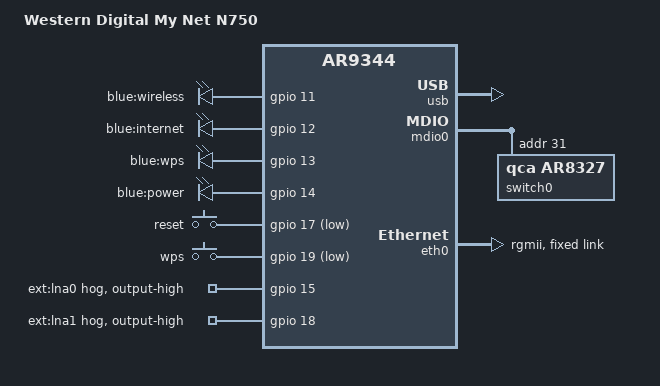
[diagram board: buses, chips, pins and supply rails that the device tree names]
// SPDX-License-Identifier: GPL-2.0-or-later OR MIT

#include "ar9344_wd_mynet-nxxx.dtsi"

/ {
	model = "Western Digital My Net N750";
	compatible = "wd,mynet-n750", "qca,ar9344";

	aliases {
		led-boot = &led_power;
		led-failsafe = &led_power;
		led-running = &led_power;
		led-upgrade = &led_power;
	};

	leds {
		compatible = "gpio-leds";

		wifi {
			label = "blue:wireless";
			gpios = <&gpio 11 GPIO_ACTIVE_HIGH>;
		};

		internet {
			label = "blue:internet";
			gpios = <&gpio 12 GPIO_ACTIVE_HIGH>;
		};

		wps {
			label = "blue:wps";
			gpios = <&gpio 13 GPIO_ACTIVE_HIGH>;
		};

		led_power: power {
			label = "blue:power";
			gpios = <&gpio 14 GPIO_ACTIVE_HIGH>;
		};
	};

	keys {
		compatible = "gpio-keys";

		reset {
			linux,code = <KEY_RESTART>;
			gpios = <&gpio 17 GPIO_ACTIVE_LOW>;
		};

		wps {
			linux,code = <KEY_WPS_BUTTON>;
			gpios = <&gpio 19 GPIO_ACTIVE_LOW>;
		};
	};
};

&gpio {
	gpio_ext_lna0 {
		gpio-hog;
		gpios = <15 0>;
		output-high;
		line-name = "ext:lna0";
	};

	gpio_ext_lna1 {
		gpio-hog;
		gpios = <18 0>;
		output-high;
		line-name = "ext:lna1";
	};
};

&usb {
	#address-cells = <1>;
	#size-cells = <0>;
	status = "okay";

	port@1 {
		#address-cells = <1>;
		#size-cells = <0>;
		reg = <1>;
		#trigger-source-cells = <0>;

		hub_port1: port@1 {
			reg = <1>;
			#trigger-source-cells = <0>;
		};

		hub_port2: port@2 {
			reg = <2>;
			#trigger-source-cells = <0>;
		};
	};
};

&mdio0 {
	status = "okay";

	phy-mask = <0>;

	switch0@1f {
		compatible = "qca,ar8327";
		reg = <0x1f>;

		qca,ar8327-initvals = <
			0x04 0x07600000 /* PORT0 PAD MODE CTRL */
			0x10 0x80000080 /* POWER_ON_STRAP */
			0x50 0xc737c737 /* LED_CTRL0 */
			0x54 0x00000000 /* LED_CTRL1 */
			0x58 0x00000000 /* LED_CTRL2 */
			0x5c 0x0030c300 /* LED_CTRL3 */
			0x7c 0x0000007e /* PORT0_STATUS */
			>;
	};
};

&eth0 {
	status = "okay";

	/* default for ar934x, except for 1000M */
	pll-data = <0x06000000 0x00000101 0x00001616>;

	phy-mode = "rgmii";
	fixed-link {
		speed = <1000>;
		full-duplex;
	};
};
